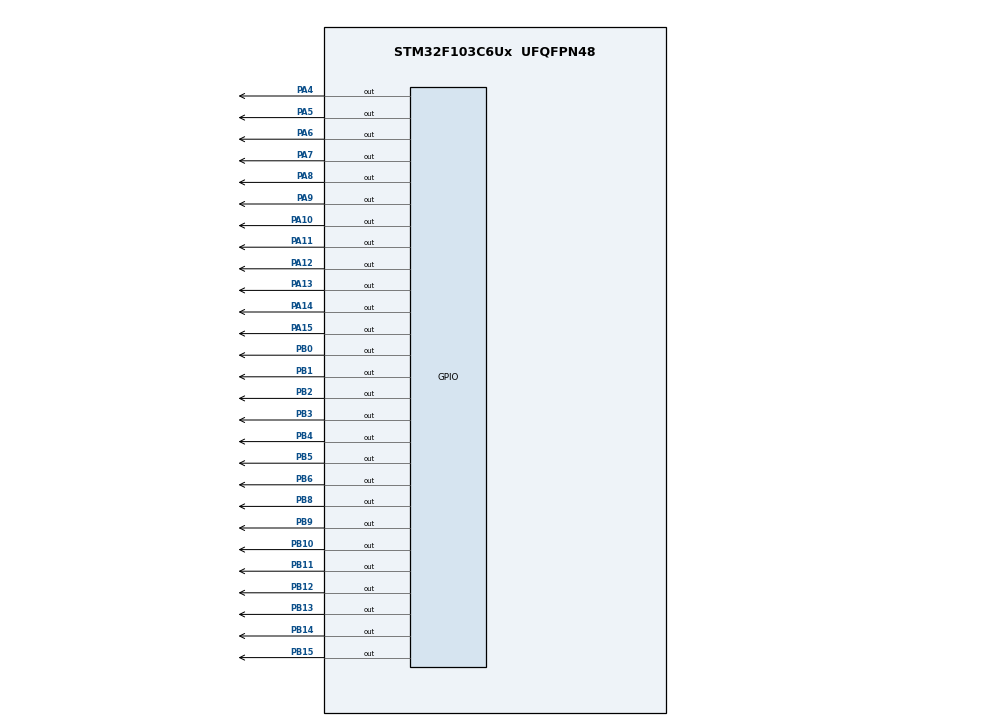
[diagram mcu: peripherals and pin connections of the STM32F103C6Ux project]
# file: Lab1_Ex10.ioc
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Mcu.Family=STM32F1
Mcu.Name=STM32F103C6Ux
Mcu.Package=UFQFPN48
NVIC.PriorityGroup=NVIC_PRIORITYGROUP_4
PA10.Signal=GPIO_Output
PA11.Signal=GPIO_Output
PA12.Signal=GPIO_Output
PA13.Signal=GPIO_Output
PA14.Signal=GPIO_Output
PA15.Signal=GPIO_Output
PA4.Signal=GPIO_Output
PA5.Signal=GPIO_Output
PA6.Signal=GPIO_Output
PA7.Signal=GPIO_Output
PA8.Signal=GPIO_Output
PA9.Signal=GPIO_Output
PB0.Signal=GPIO_Output
PB1.Signal=GPIO_Output
PB10.Signal=GPIO_Output
PB11.Signal=GPIO_Output
PB12.Signal=GPIO_Output
PB13.Signal=GPIO_Output
PB14.Signal=GPIO_Output
PB15.Signal=GPIO_Output
PB2.Signal=GPIO_Output
PB3.Signal=GPIO_Output
PB4.Signal=GPIO_Output
PB5.Signal=GPIO_Output
PB6.Signal=GPIO_Output
PB8.Signal=GPIO_Output
PB9.Signal=GPIO_Output
ProjectManager.HeapSize=0x200
ProjectManager.StackSize=0x400
ProjectManager.TargetToolchain=STM32CubeIDE
RCC.APB1Freq_Value=8000000
RCC.APB2Freq_Value=8000000
VP_SYS_VS_ND.Mode=No_Debug
board=custom

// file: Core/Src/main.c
/* USER CODE BEGIN Header */
/**
  ******************************************************************************
  * @file           : main.c
  * @brief          : Main program body (Lab 1 - Exercise 10 - Analog Clock)
  ******************************************************************************
  * @attention
  *
  * <h2><center>&copy; Copyright (c) 2026 STMicroelectronics.
  * All rights reserved.</center></h2>
  *
  * This software component is licensed by ST under BSD 3-Clause license,
  * the "License"; You may not use this file except in compliance with the
  * License. You may obtain a copy of the License at:
  *                        opensource.org/licenses/BSD-3-Clause
  *
  ******************************************************************************
  */
/* USER CODE END Header */
#include "main.h"

void SystemClock_Config(void);
static void MX_GPIO_Init(void);

/* USER CODE BEGIN 0 */
void display7SEG(int num);
void updateClockBuffer(void);
void displayLED(int index);

void clearAllClock(void) {
    HAL_GPIO_WritePin(GPIOA, GPIO_PIN_4  | GPIO_PIN_5  | GPIO_PIN_6  | GPIO_PIN_7  |
                             GPIO_PIN_8  | GPIO_PIN_9  | GPIO_PIN_10 | GPIO_PIN_11 |
                             GPIO_PIN_12 | GPIO_PIN_13 | GPIO_PIN_14 | GPIO_PIN_15,
                             GPIO_PIN_RESET);
}

void setAllClock(void) {
    HAL_GPIO_WritePin(GPIOA, GPIO_PIN_0  | GPIO_PIN_1  | GPIO_PIN_2  | GPIO_PIN_3  |
                             GPIO_PIN_4  | GPIO_PIN_5  | GPIO_PIN_6  | GPIO_PIN_7  |
                             GPIO_PIN_8  | GPIO_PIN_9  | GPIO_PIN_10 | GPIO_PIN_11 |
                             GPIO_PIN_12 | GPIO_PIN_13 | GPIO_PIN_14 | GPIO_PIN_15,
                             GPIO_PIN_SET);
}

void clearNumberOnClock(int num) {
    switch (num) {
        case 0:  HAL_GPIO_WritePin(GPIOA, GPIO_PIN_4, GPIO_PIN_RESET); break;
        case 1:  HAL_GPIO_WritePin(GPIOA, GPIO_PIN_5, GPIO_PIN_RESET); break;
        case 2:  HAL_GPIO_WritePin(GPIOA, GPIO_PIN_6, GPIO_PIN_RESET); break;
        case 3:  HAL_GPIO_WritePin(GPIOA, GPIO_PIN_7, GPIO_PIN_RESET); break;
        case 4:  HAL_GPIO_WritePin(GPIOA, GPIO_PIN_8, GPIO_PIN_RESET); break;
        case 5:  HAL_GPIO_WritePin(GPIOA, GPIO_PIN_9, GPIO_PIN_RESET); break;
        case 6:  HAL_GPIO_WritePin(GPIOA, GPIO_PIN_10, GPIO_PIN_RESET); break;
        case 7:  HAL_GPIO_WritePin(GPIOA, GPIO_PIN_11, GPIO_PIN_RESET); break;
        case 8:  HAL_GPIO_WritePin(GPIOA, GPIO_PIN_12, GPIO_PIN_RESET); break;
        case 9:  HAL_GPIO_WritePin(GPIOA, GPIO_PIN_13, GPIO_PIN_RESET); break;
        case 10: HAL_GPIO_WritePin(GPIOA, GPIO_PIN_14, GPIO_PIN_RESET); break;
        case 11: HAL_GPIO_WritePin(GPIOA, GPIO_PIN_15, GPIO_PIN_RESET); break;
        default: break;
    }
}

void setNumberOnClock(int num) {
    switch (num) {
        case 0:  HAL_GPIO_WritePin(GPIOA, GPIO_PIN_4, GPIO_PIN_SET); break;
        case 1:  HAL_GPIO_WritePin(GPIOA, GPIO_PIN_5, GPIO_PIN_SET); break;
        case 2:  HAL_GPIO_WritePin(GPIOA, GPIO_PIN_6, GPIO_PIN_SET); break;
        case 3:  HAL_GPIO_WritePin(GPIOA, GPIO_PIN_7, GPIO_PIN_SET); break;
        case 4:  HAL_GPIO_WritePin(GPIOA, GPIO_PIN_8, GPIO_PIN_SET); break;
        case 5:  HAL_GPIO_WritePin(GPIOA, GPIO_PIN_9, GPIO_PIN_SET); break;
        case 6:  HAL_GPIO_WritePin(GPIOA, GPIO_PIN_10, GPIO_PIN_SET); break;
        case 7:  HAL_GPIO_WritePin(GPIOA, GPIO_PIN_11, GPIO_PIN_SET); break;
        case 8:  HAL_GPIO_WritePin(GPIOA, GPIO_PIN_12, GPIO_PIN_SET); break;
        case 9:  HAL_GPIO_WritePin(GPIOA, GPIO_PIN_13, GPIO_PIN_SET); break;
        case 10: HAL_GPIO_WritePin(GPIOA, GPIO_PIN_14, GPIO_PIN_SET); break;
        case 11: HAL_GPIO_WritePin(GPIOA, GPIO_PIN_15, GPIO_PIN_SET); break;
        default: break;
    }
}
/* USER CODE END 0 */

int main(void)
{
  /* USER CODE BEGIN 1 */
  int hour = 0;
  int minute = 59;
  int second = 0;
  /* USER CODE END 1 */

  /* MCU Configuration--------------------------------------------------------*/

  /* Reset of all peripherals, Initializes the Flash interface and the Systick. */
  HAL_Init();

  /* Configure the system clock */
  SystemClock_Config();

  /* Initialize all configured peripherals */
  MX_GPIO_Init();

  /* Infinite loop */
  while (1)
  {

      /* USER CODE BEGIN 3 */

      clearAllClock();

      setNumberOnClock(hour % 12);
      setNumberOnClock(minute / 5);
      setNumberOnClock(second / 5);

      second++;
      if (second >= 60) {
          second = 0;
          minute++;
      }
      if (minute >= 60) {
          minute = 0;
          hour++;
      }
      if (hour >= 24) {
          hour = 0;
      }

      HAL_Delay(100);

  }
  /* USER CODE END 3 */
}

void SystemClock_Config(void)
{
  RCC_OscInitTypeDef RCC_OscInitStruct = {0};
  RCC_ClkInitTypeDef RCC_ClkInitStruct = {0};

  RCC_OscInitStruct.OscillatorType = RCC_OSCILLATORTYPE_HSI;
  RCC_OscInitStruct.HSIState = RCC_HSI_ON;
  RCC_OscInitStruct.HSICalibrationValue = RCC_HSICALIBRATION_DEFAULT;
  RCC_OscInitStruct.PLL.PLLState = RCC_PLL_NONE;
  if (HAL_RCC_OscConfig(&RCC_OscInitStruct) != HAL_OK)
  {
    Error_Handler();
  }
  RCC_ClkInitStruct.ClockType = RCC_CLOCKTYPE_HCLK|RCC_CLOCKTYPE_SYSCLK
                              |RCC_CLOCKTYPE_PCLK1|RCC_CLOCKTYPE_PCLK2;
  RCC_ClkInitStruct.SYSCLKSource = RCC_SYSCLKSOURCE_HSI;
  RCC_ClkInitStruct.AHBCLKDivider = RCC_SYSCLK_DIV1;
  RCC_ClkInitStruct.APB1CLKDivider = RCC_HCLK_DIV1;
  RCC_ClkInitStruct.APB2CLKDivider = RCC_HCLK_DIV1;

  if (HAL_RCC_ClockConfig(&RCC_ClkInitStruct, FLASH_LATENCY_0) != HAL_OK)
  {
    Error_Handler();
  }
}

static void MX_GPIO_Init(void)
{
  GPIO_InitTypeDef GPIO_InitStruct = {0};

  /* GPIO Ports Clock Enable */
  __HAL_RCC_GPIOA_CLK_ENABLE();

  /*Configure GPIO pin Output Level */
  HAL_GPIO_WritePin(GPIOA, GPIO_PIN_4|GPIO_PIN_5|GPIO_PIN_6|GPIO_PIN_7
                          |GPIO_PIN_8|GPIO_PIN_9|GPIO_PIN_10|GPIO_PIN_11
                          |GPIO_PIN_12|GPIO_PIN_13|GPIO_PIN_14|GPIO_PIN_15, GPIO_PIN_RESET);

  /*Configure GPIO pins : PA4 PA5 PA6 PA7
                           PA8 PA9 PA10 PA11
                           PA12 PA13 PA14 PA15 */
  GPIO_InitStruct.Pin = GPIO_PIN_4|GPIO_PIN_5|GPIO_PIN_6|GPIO_PIN_7
                          |GPIO_PIN_8|GPIO_PIN_9|GPIO_PIN_10|GPIO_PIN_11
                          |GPIO_PIN_12|GPIO_PIN_13|GPIO_PIN_14|GPIO_PIN_15;
  GPIO_InitStruct.Mode = GPIO_MODE_OUTPUT_PP;
  GPIO_InitStruct.Pull = GPIO_NOPULL;
  GPIO_InitStruct.Speed = GPIO_SPEED_FREQ_LOW;
  HAL_GPIO_Init(GPIOA, &GPIO_InitStruct);

}

void Error_Handler(void)
{
  __disable_irq();
  while (1)
  {
  }
}

/************************ (C) COPYRIGHT STMicroelectronics *****END OF FILE****/
